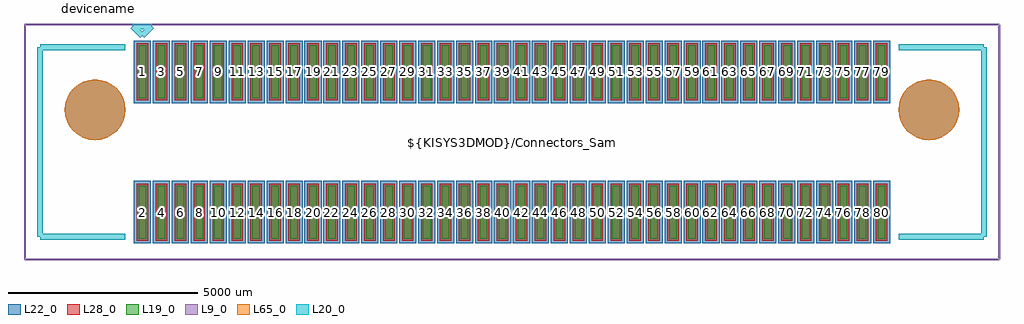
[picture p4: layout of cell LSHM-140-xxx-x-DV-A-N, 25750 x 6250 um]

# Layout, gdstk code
import gdstk
lib = gdstk.Library(unit=1e-6, precision=1e-09)
def R(c, l, rs):  # rectangles x0, y0, x1, y1
    for r in rs: c.add(gdstk.rectangle(r[:2], r[2:], *l))
def A(c, l, x, y, w, h, nx, ny, dx, dy):  # array of equal rectangles
    R(c, l, [(x+i*dx, y+j*dy, x+i*dx+w, y+j*dy+h) for i in range(nx) for j in range(ny)])
def P(c, l, *ps):  # polygons
    for p in ps: c.add(gdstk.Polygon(p, *l))
L9_0 = (9, 0)
L19_0 = (19, 0)
L20_0 = (20, 0)
L22_0 = (22, 0)
L28_0 = (28, 0)
L65_0 = (65, 0)

lshm_140_xxx_x_dv_a_n = lib.new_cell('LSHM-140-xxx-x-DV-A-N')
A(lshm_140_xxx_x_dv_a_n, L19_0, -9850, -2550, 200, 1400, 40, 2, 500, 3700)
A(lshm_140_xxx_x_dv_a_n, L22_0, -9975, -2675, 450, 1650, 40, 2, 500, 3700)
P(lshm_140_xxx_x_dv_a_n, L22_0, [(-10200,850),(-10215.372,1006.072),(-10260.896,1156.147),(-10334.824,1294.456),(-10434.315,1415.685),(-10555.544,1515.176),(-10693.853,1589.104),(-10843.928,1634.628),(-11000,1650),(-11156.072,1634.628),(-11306.147,1589.104),(-11444.456,1515.176),(-11565.685,1415.685),(-11665.176,1294.456),(-11739.104,1156.147),(-11784.628,1006.072),(-11800,850),(-11784.628,693.928),(-11739.104,543.853),(-11665.176,405.544),(-11565.685,284.315),(-11444.456,184.824),(-11306.147,110.896),(-11156.072,65.372),(-11000,50),(-10843.928,65.372),(-10693.853,110.896),(-10555.544,184.824),(-10434.315,284.315),(-10334.824,405.544),(-10260.896,543.853),(-10215.372,693.928)],
  [(11800,850),(11784.628,1006.072),(11739.104,1156.147),(11665.176,1294.456),(11565.685,1415.685),(11444.456,1515.176),(11306.147,1589.104),(11156.072,1634.628),(11000,1650),(10843.928,1634.628),(10693.853,1589.104),(10555.544,1515.176),(10434.315,1415.685),(10334.824,1294.456),(10260.896,1156.147),(10215.372,1006.072),(10200,850),(10215.372,693.928),(10260.896,543.853),(10334.824,405.544),(10434.315,284.315),(10555.544,184.824),(10693.853,110.896),(10843.928,65.372),(11000,50),(11156.072,65.372),(11306.147,110.896),(11444.456,184.824),(11565.685,284.315),(11665.176,405.544),(11739.104,543.853),(11784.628,693.928)])
A(lshm_140_xxx_x_dv_a_n, L28_0, -9900, -2600, 300, 1500, 40, 2, 500, 3700)
P(lshm_140_xxx_x_dv_a_n, L65_0, [(-10200,850),(-10215.372,1006.072),(-10260.896,1156.147),(-10334.824,1294.456),(-10434.315,1415.685),(-10555.544,1515.176),(-10693.853,1589.104),(-10843.928,1634.628),(-11000,1650),(-11156.072,1634.628),(-11306.147,1589.104),(-11444.456,1515.176),(-11565.685,1415.685),(-11665.176,1294.456),(-11739.104,1156.147),(-11784.628,1006.072),(-11800,850),(-11784.628,693.928),(-11739.104,543.853),(-11665.176,405.544),(-11565.685,284.315),(-11444.456,184.824),(-11306.147,110.896),(-11156.072,65.372),(-11000,50),(-10843.928,65.372),(-10693.853,110.896),(-10555.544,184.824),(-10434.315,284.315),(-10334.824,405.544),(-10260.896,543.853),(-10215.372,693.928)],
  [(11800,850),(11784.628,1006.072),(11739.104,1156.147),(11665.176,1294.456),(11565.685,1415.685),(11444.456,1515.176),(11306.147,1589.104),(11156.072,1634.628),(11000,1650),(10843.928,1634.628),(10693.853,1589.104),(10555.544,1515.176),(10434.315,1415.685),(10334.824,1294.456),(10260.896,1156.147),(10215.372,1006.072),(10200,850),(10215.372,693.928),(10260.896,543.853),(10334.824,405.544),(10434.315,284.315),(10555.544,184.824),(10693.853,110.896),(10843.928,65.372),(11000,50),(11156.072,65.372),(11306.147,110.896),(11444.456,184.824),(11565.685,284.315),(11665.176,405.544),(11739.104,543.853),(11784.628,693.928)])
lshm_140_xxx_x_dv_a_n.add(gdstk.FlexPath([(-10350,-3100),(10350,-3100)], 50, ends="flush", simple_path=True, layer=9, datatype=0))  # L9_0
lshm_140_xxx_x_dv_a_n.add(gdstk.FlexPath([(12850,-3100),(12850,3100)], 50, ends="flush", simple_path=True, layer=9, datatype=0))  # L9_0
lshm_140_xxx_x_dv_a_n.add(gdstk.FlexPath([(-12850,-3100),(-12850,3100)], 50, ends="flush", simple_path=True, layer=9, datatype=0))  # L9_0
lshm_140_xxx_x_dv_a_n.add(gdstk.FlexPath([(-12850,3100),(12850,3100)], 50, ends="flush", simple_path=True, layer=9, datatype=0))  # L9_0
lshm_140_xxx_x_dv_a_n.add(gdstk.FlexPath([(-12850,-3100),(12850,-3100)], 50, ends="flush", simple_path=True, layer=9, datatype=0))  # L9_0
lshm_140_xxx_x_dv_a_n.add(gdstk.FlexPath([(12450,2500),(10200,2500)], 149.998, ends="flush", simple_path=True, layer=20, datatype=0))  # L20_0
lshm_140_xxx_x_dv_a_n.add(gdstk.FlexPath([(-12450,2500),(-10200,2500)], 149.998, ends="flush", simple_path=True, layer=20, datatype=0))  # L20_0
lshm_140_xxx_x_dv_a_n.add(gdstk.FlexPath([(12450,-2500),(10200,-2500)], 149.998, ends="flush", simple_path=True, layer=20, datatype=0))  # L20_0
lshm_140_xxx_x_dv_a_n.add(gdstk.FlexPath([(-12450,-2500),(-10200,-2500)], 149.998, ends="flush", simple_path=True, layer=20, datatype=0))  # L20_0
lshm_140_xxx_x_dv_a_n.add(gdstk.FlexPath([(12450,2500),(12450,-2500)], 149.998, ends="flush", simple_path=True, layer=20, datatype=0))  # L20_0
lshm_140_xxx_x_dv_a_n.add(gdstk.FlexPath([(-12450,2500),(-12450,-2500)], 149.998, ends="flush", simple_path=True, layer=20, datatype=0))  # L20_0
lshm_140_xxx_x_dv_a_n.add(gdstk.FlexPath([(-9750,2800),(-9500,3050)], 149.998, ends="flush", simple_path=True, layer=20, datatype=0))  # L20_0
lshm_140_xxx_x_dv_a_n.add(gdstk.FlexPath([(-9500,3050),(-10000,3050)], 149.998, ends="flush", simple_path=True, layer=20, datatype=0))  # L20_0
lshm_140_xxx_x_dv_a_n.add(gdstk.FlexPath([(-10000,3050),(-9750,2800)], 149.998, ends="flush", simple_path=True, layer=20, datatype=0))  # L20_0
lshm_140_xxx_x_dv_a_n.add(gdstk.Label('${KISYS3DMOD}/Connectors_Samtec.3dshapes/LSHM-140-xxx-x-DV-A-N.wrl', (0,0), layer=12, texttype=0))
lshm_140_xxx_x_dv_a_n.add(gdstk.Label('2', (-9750,-1850), layer=28, texttype=0))
lshm_140_xxx_x_dv_a_n.add(gdstk.Label('1', (-9750,1850), layer=28, texttype=0))
lshm_140_xxx_x_dv_a_n.add(gdstk.Label('3', (-9250,1850), layer=28, texttype=0))
lshm_140_xxx_x_dv_a_n.add(gdstk.Label('4', (-9250,-1850), layer=28, texttype=0))
lshm_140_xxx_x_dv_a_n.add(gdstk.Label('8', (-8250,-1850), layer=28, texttype=0))
lshm_140_xxx_x_dv_a_n.add(gdstk.Label('7', (-8250,1850), layer=28, texttype=0))
lshm_140_xxx_x_dv_a_n.add(gdstk.Label('5', (-8750,1850), layer=28, texttype=0))
lshm_140_xxx_x_dv_a_n.add(gdstk.Label('6', (-8750,-1850), layer=28, texttype=0))
lshm_140_xxx_x_dv_a_n.add(gdstk.Label('14', (-6750,-1850), layer=28, texttype=0))
lshm_140_xxx_x_dv_a_n.add(gdstk.Label('13', (-6750,1850), layer=28, texttype=0))
lshm_140_xxx_x_dv_a_n.add(gdstk.Label('15', (-6250,1850), layer=28, texttype=0))
lshm_140_xxx_x_dv_a_n.add(gdstk.Label('16', (-6250,-1850), layer=28, texttype=0))
lshm_140_xxx_x_dv_a_n.add(gdstk.Label('12', (-7250,-1850), layer=28, texttype=0))
lshm_140_xxx_x_dv_a_n.add(gdstk.Label('11', (-7250,1850), layer=28, texttype=0))
lshm_140_xxx_x_dv_a_n.add(gdstk.Label('9', (-7750,1850), layer=28, texttype=0))
lshm_140_xxx_x_dv_a_n.add(gdstk.Label('10', (-7750,-1850), layer=28, texttype=0))
lshm_140_xxx_x_dv_a_n.add(gdstk.Label('26', (-3750,-1850), layer=28, texttype=0))
lshm_140_xxx_x_dv_a_n.add(gdstk.Label('25', (-3750,1850), layer=28, texttype=0))
lshm_140_xxx_x_dv_a_n.add(gdstk.Label('27', (-3250,1850), layer=28, texttype=0))
lshm_140_xxx_x_dv_a_n.add(gdstk.Label('28', (-3250,-1850), layer=28, texttype=0))
lshm_140_xxx_x_dv_a_n.add(gdstk.Label('32', (-2250,-1850), layer=28, texttype=0))
lshm_140_xxx_x_dv_a_n.add(gdstk.Label('31', (-2250,1850), layer=28, texttype=0))
lshm_140_xxx_x_dv_a_n.add(gdstk.Label('29', (-2750,1850), layer=28, texttype=0))
lshm_140_xxx_x_dv_a_n.add(gdstk.Label('30', (-2750,-1850), layer=28, texttype=0))
lshm_140_xxx_x_dv_a_n.add(gdstk.Label('22', (-4750,-1850), layer=28, texttype=0))
lshm_140_xxx_x_dv_a_n.add(gdstk.Label('21', (-4750,1850), layer=28, texttype=0))
lshm_140_xxx_x_dv_a_n.add(gdstk.Label('23', (-4250,1850), layer=28, texttype=0))
lshm_140_xxx_x_dv_a_n.add(gdstk.Label('24', (-4250,-1850), layer=28, texttype=0))
lshm_140_xxx_x_dv_a_n.add(gdstk.Label('20', (-5250,-1850), layer=28, texttype=0))
lshm_140_xxx_x_dv_a_n.add(gdstk.Label('19', (-5250,1850), layer=28, texttype=0))
lshm_140_xxx_x_dv_a_n.add(gdstk.Label('17', (-5750,1850), layer=28, texttype=0))
lshm_140_xxx_x_dv_a_n.add(gdstk.Label('18', (-5750,-1850), layer=28, texttype=0))
lshm_140_xxx_x_dv_a_n.add(gdstk.Label('38', (-750,-1850), layer=28, texttype=0))
lshm_140_xxx_x_dv_a_n.add(gdstk.Label('37', (-750,1850), layer=28, texttype=0))
lshm_140_xxx_x_dv_a_n.add(gdstk.Label('39', (-250,1850), layer=28, texttype=0))
lshm_140_xxx_x_dv_a_n.add(gdstk.Label('40', (-250,-1850), layer=28, texttype=0))
lshm_140_xxx_x_dv_a_n.add(gdstk.Label('36', (-1250,-1850), layer=28, texttype=0))
lshm_140_xxx_x_dv_a_n.add(gdstk.Label('35', (-1250,1850), layer=28, texttype=0))
lshm_140_xxx_x_dv_a_n.add(gdstk.Label('33', (-1750,1850), layer=28, texttype=0))
lshm_140_xxx_x_dv_a_n.add(gdstk.Label('34', (-1750,-1850), layer=28, texttype=0))
lshm_140_xxx_x_dv_a_n.add(gdstk.Label('54', (3250,-1850), layer=28, texttype=0))
lshm_140_xxx_x_dv_a_n.add(gdstk.Label('53', (3250,1850), layer=28, texttype=0))
lshm_140_xxx_x_dv_a_n.add(gdstk.Label('55', (3750,1850), layer=28, texttype=0))
lshm_140_xxx_x_dv_a_n.add(gdstk.Label('56', (3750,-1850), layer=28, texttype=0))
lshm_140_xxx_x_dv_a_n.add(gdstk.Label('60', (4750,-1850), layer=28, texttype=0))
lshm_140_xxx_x_dv_a_n.add(gdstk.Label('59', (4750,1850), layer=28, texttype=0))
lshm_140_xxx_x_dv_a_n.add(gdstk.Label('57', (4250,1850), layer=28, texttype=0))
lshm_140_xxx_x_dv_a_n.add(gdstk.Label('58', (4250,-1850), layer=28, texttype=0))
lshm_140_xxx_x_dv_a_n.add(gdstk.Label('44', (750,-1850), layer=28, texttype=0))
lshm_140_xxx_x_dv_a_n.add(gdstk.Label('43', (750,1850), layer=28, texttype=0))
lshm_140_xxx_x_dv_a_n.add(gdstk.Label('41', (250,1850), layer=28, texttype=0))
lshm_140_xxx_x_dv_a_n.add(gdstk.Label('42', (250,-1850), layer=28, texttype=0))
lshm_140_xxx_x_dv_a_n.add(gdstk.Label('50', (2250,-1850), layer=28, texttype=0))
lshm_140_xxx_x_dv_a_n.add(gdstk.Label('49', (2250,1850), layer=28, texttype=0))
lshm_140_xxx_x_dv_a_n.add(gdstk.Label('51', (2750,1850), layer=28, texttype=0))
lshm_140_xxx_x_dv_a_n.add(gdstk.Label('52', (2750,-1850), layer=28, texttype=0))
lshm_140_xxx_x_dv_a_n.add(gdstk.Label('48', (1750,-1850), layer=28, texttype=0))
lshm_140_xxx_x_dv_a_n.add(gdstk.Label('47', (1750,1850), layer=28, texttype=0))
lshm_140_xxx_x_dv_a_n.add(gdstk.Label('45', (1250,1850), layer=28, texttype=0))
lshm_140_xxx_x_dv_a_n.add(gdstk.Label('46', (1250,-1850), layer=28, texttype=0))
lshm_140_xxx_x_dv_a_n.add(gdstk.Label('66', (6250,-1850), layer=28, texttype=0))
lshm_140_xxx_x_dv_a_n.add(gdstk.Label('65', (6250,1850), layer=28, texttype=0))
lshm_140_xxx_x_dv_a_n.add(gdstk.Label('67', (6750,1850), layer=28, texttype=0))
lshm_140_xxx_x_dv_a_n.add(gdstk.Label('68', (6750,-1850), layer=28, texttype=0))
lshm_140_xxx_x_dv_a_n.add(gdstk.Label('72', (7750,-1850), layer=28, texttype=0))
lshm_140_xxx_x_dv_a_n.add(gdstk.Label('71', (7750,1850), layer=28, texttype=0))
lshm_140_xxx_x_dv_a_n.add(gdstk.Label('69', (7250,1850), layer=28, texttype=0))
lshm_140_xxx_x_dv_a_n.add(gdstk.Label('70', (7250,-1850), layer=28, texttype=0))
lshm_140_xxx_x_dv_a_n.add(gdstk.Label('62', (5250,-1850), layer=28, texttype=0))
lshm_140_xxx_x_dv_a_n.add(gdstk.Label('61', (5250,1850), layer=28, texttype=0))
lshm_140_xxx_x_dv_a_n.add(gdstk.Label('63', (5750,1850), layer=28, texttype=0))
lshm_140_xxx_x_dv_a_n.add(gdstk.Label('64', (5750,-1850), layer=28, texttype=0))
lshm_140_xxx_x_dv_a_n.add(gdstk.Label('78', (9250,-1850), layer=28, texttype=0))
lshm_140_xxx_x_dv_a_n.add(gdstk.Label('77', (9250,1850), layer=28, texttype=0))
lshm_140_xxx_x_dv_a_n.add(gdstk.Label('79', (9750,1850), layer=28, texttype=0))
lshm_140_xxx_x_dv_a_n.add(gdstk.Label('80', (9750,-1850), layer=28, texttype=0))
lshm_140_xxx_x_dv_a_n.add(gdstk.Label('76', (8750,-1850), layer=28, texttype=0))
lshm_140_xxx_x_dv_a_n.add(gdstk.Label('75', (8750,1850), layer=28, texttype=0))
lshm_140_xxx_x_dv_a_n.add(gdstk.Label('73', (8250,1850), layer=28, texttype=0))
lshm_140_xxx_x_dv_a_n.add(gdstk.Label('74', (8250,-1850), layer=28, texttype=0))
lshm_140_xxx_x_dv_a_n.add(gdstk.Label('type', (0,-4250), layer=9, texttype=0))
lshm_140_xxx_x_dv_a_n.add(gdstk.Label('devicename', (-10900,3650), layer=9, texttype=0))

lib.write_gds('LSHM-140-xxx-x-DV-A-N.gds')
